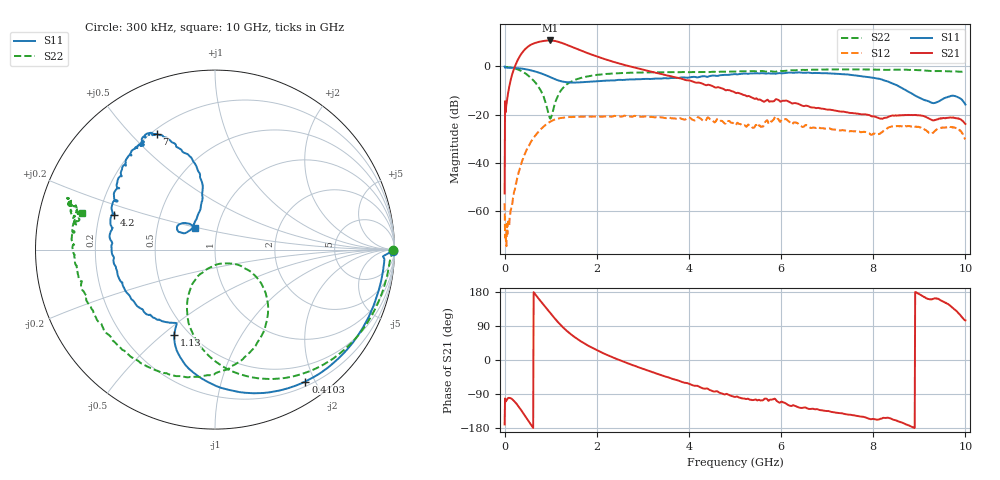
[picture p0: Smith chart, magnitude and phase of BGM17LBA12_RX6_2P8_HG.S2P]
!Agilent Technologies,E5071C,MY46316587,B.13.01
!Date: Fri Dec 08 11:14:54 2017
!Data & Calibration Information:
!Freq	S11:SOLT2(ON)	S21:SOLT2(ON)	S12:SOLT2(ON)	S22:SOLT2(ON)
!PortZ  Port1:50+j0  Port2:50+j0
!Above PortZ is port z conversion or system Z0 setting when saving the data.
!When reading, reference impedance value at option line is always used.
# Hz S dB R 50
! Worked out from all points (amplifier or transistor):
!   1001 points, 300 kHz to 10 GHz, reference 50 ohm
!   highest |S21| = 10.8 dB at 990.3 MHz (marker M1)
!   |S21| within 3 dB of that: 480.7 MHz to 1.502 GHz (1.021 GHz wide, 103 % of centre)
!   unconditionally stable (mu >= 1): start of sweep to end of sweep
!   at 1.66 GHz: K = 1.47, MAG = 9.7 dB, |S12| = -20.9 dB
!   at 5 GHz: K = 5.94, MAG = -4.0 dB, |S12| = -24.2 dB
!   at 10 GHz: K = 101.32, MAG = -19.9 dB, |S12| = -30.2 dB
!   lowest NFmin = 1.13 dB at 800 MHz
!   S11 on the Smith chart (normalised r, x): 300 kHz: open; 410.3 MHz: 0.26, -1.87; 1.13 GHz: 0.42, -0.55; 4.2 GHz: 0.26, +0.16; 7 GHz: 0.22, +0.59; 10 GHz: 0.78, +0.19
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300000  -0.07 -0.4  -52.70 -170.1  -56.74 93.9  -0.06 -0.1
6.02982e7  -0.51 -8.7  -12.90 -102.9  -69.57 118.2  -0.30 -11.3
2.302931e8  -0.64 -31.8  0.30 -111.7  -50.32 161.4  -0.91 -41.0
4.102877e8  -1.00 -55.6  6.39 -141.7  -37.69 152.9  -2.42 -71.3
5.602832e8  -1.58 -73.7  8.88 -168.8  -31.63 135.3  -4.58 -93.6
6.902793e8  -2.26 -87.4  9.92 169.6  -28.11 119.7  -7.24 -109.9
8.402748e8  -3.22 -100.7  10.50 146.8  -25.06 102.8  -12.20 -122.7
9.902703e8  -4.43 -110.9  10.76 124.4  -22.91 85.1  -21.64 -79.4
1.130266e9  -5.59 -115.5  10.37 103.8  -21.80 69.3  -13.39 -31.8
1.380259e9  -6.62 -117.2  8.71 73.7  -21.07 47.6  -7.04 -48.3
1.67025e9  -6.57 -119.5  6.48 48.2  -20.85 30.6  -4.69 -67.2
1.980241e9  -6.18 -125.0  4.28 27.1  -20.84 17.5  -3.60 -82.6
2.34023e9  -5.81 -134.0  2.02 7.3  -20.81 6.3  -2.94 -96.3
3.3402e9  -5.06 -167.6  -2.89 -37.4  -21.11 -23.1  -2.42 -126.8
4.200174e9  -4.50 160.9  -6.68 -69.0  -21.00 -41.2  -2.38 -153.7
5.00015e9  -3.19 137.4  -10.83 -97.5  -24.20 -62.0  -2.11 -176.7
6.6701e9  -2.77 118.5  -17.03 -128.7  -25.49 -90.6  -1.37 162.3
7.00009e9  -2.84 116.7  -17.89 -134.6  -25.86 -94.6  -1.29 161.2
8.34005e9  -6.43 102.6  -20.80 -153.1  -25.27 -103.6  -1.43 162.5
9.280022e9  -15.14 134.4  -22.34 160.1  -27.82 -153.1  -1.92 164.1
9.710009e9  -12.15 148.8  -21.22 139.2  -25.19 166.1  -2.10 164.9
1e10  -15.81 133.1  -23.86 104.5  -30.18 110.0  -2.31 164.6
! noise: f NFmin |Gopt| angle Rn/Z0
6.5e+08  1.234  0.4751  65.75  0.287
7e+08  1.185  0.5009  69.21  0.2842
7.5e+08  1.142  0.4856  68.71  0.246
8e+08  1.13  0.4556  72.3  0.2365
8.5e+08  1.149  0.4637  78.44  0.2074
9e+08  1.161  0.4475  80.85  0.2111
9.5e+08  1.189  0.4377  84.61  0.2559
1e+09  1.228  0.3758  88.55  0.1993
